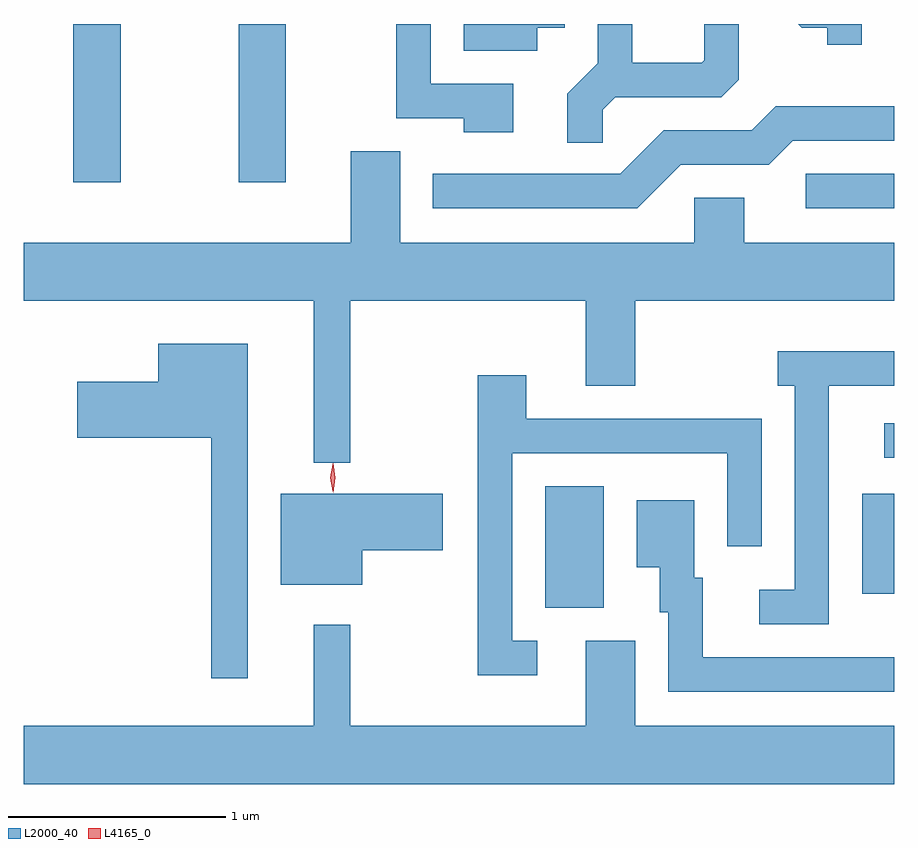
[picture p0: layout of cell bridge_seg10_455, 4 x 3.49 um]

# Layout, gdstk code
import gdstk
lib = gdstk.Library(unit=1e-6, precision=1e-09)
def R(c, l, rs):  # rectangles x0, y0, x1, y1
    for r in rs: c.add(gdstk.rectangle(r[:2], r[2:], *l))
def P(c, l, *ps):  # polygons
    for p in ps: c.add(gdstk.Polygon(p, *l))
L2000_40 = (2000, 40)
L4165_0 = (4165, 0)

bridge_seg10_455 = lib.new_cell('bridge_seg10_455')
R(bridge_seg10_455, L2000_40, [(1058.086,2161.346,1058.354,2161.904), (1059.541,2161.411,1059.689,2161.869), (1059.643,2162.036,1059.689,2162.194), (1059.283,2163.181,1059.689,2163.339), (1055.916,2163.301,1056.134,2164.028), (1056.676,2163.301,1056.894,2164.028)])
P(bridge_seg10_455, L2000_40, [(1059.539,2164.028),(1059.247,2164.028),(1059.264,2164.011),(1059.381,2164.011),(1059.381,2163.933),(1059.539,2163.933)],
  [(1058.049,2164.011),(1058.174,2164.011),(1058.174,2164.028),(1057.711,2164.028),(1057.711,2163.906),(1058.049,2163.906)],
  [(1058.349,2163.634),(1058.407,2163.691),(1058.894,2163.691),(1058.974,2163.772),(1058.974,2164.028),(1058.816,2164.028),(1058.816,2163.862),(1058.804,2163.849),(1058.484,2163.849),(1058.484,2164.028),(1058.326,2164.028),(1058.326,2163.847),(1058.186,2163.707),(1058.186,2163.483),(1058.349,2163.483)],
  [(1057.939,2163.754),(1057.559,2163.754),(1057.559,2164.028),(1057.401,2164.028),(1057.401,2163.596),(1057.711,2163.596),(1057.711,2163.531),(1057.939,2163.531)],
  [(1058.707,2163.381),(1059.112,2163.381),(1059.222,2163.491),(1059.689,2163.491),(1059.689,2163.649),(1059.144,2163.649),(1059.034,2163.539),(1058.629,2163.539),(1058.429,2163.339),(1057.568,2163.339),(1057.568,2163.181),(1058.507,2163.181)],
  [(1057.189,2162.756),(1058.271,2162.756),(1058.271,2162.366),(1058.499,2162.366),(1058.499,2162.756),(1059.689,2162.756),(1059.689,2163.024),(1058.999,2163.024),(1058.999,2163.229),(1058.771,2163.229),(1058.771,2163.024),(1057.419,2163.024),(1057.419,2163.444),(1057.191,2163.444),(1057.191,2163.024),(1055.689,2163.024),(1055.689,2162.756),(1057.021,2162.756),(1057.021,2162.013),(1057.189,2162.013)],
  [(1056.719,2162.559),(1056.306,2162.559),(1056.306,2162.384),(1055.936,2162.384),(1055.936,2162.126),(1056.551,2162.126),(1056.551,2161.023),(1056.719,2161.023)],
  [(1059.389,2162.366),(1059.689,2162.366),(1059.689,2162.524),(1059.153,2162.524),(1059.153,2162.366),(1059.231,2162.366),(1059.231,2161.429),(1059.068,2161.429),(1059.068,2161.271),(1059.389,2161.271)],
  [(1058.048,2161.194),(1057.934,2161.194),(1057.934,2162.056),(1058.921,2162.056),(1058.921,2161.628),(1059.079,2161.628),(1059.079,2162.214),(1057.999,2162.214),(1057.999,2162.414),(1057.776,2162.414),(1057.776,2161.036),(1058.048,2161.036)],
  [(1057.244,2161.611),(1057.614,2161.611),(1057.614,2161.869),(1056.871,2161.869),(1056.871,2161.451),(1057.244,2161.451)],
  [(1059.689,2161.119),(1058.809,2161.119),(1058.809,2161.484),(1058.769,2161.484),(1058.769,2161.839),(1058.506,2161.839),(1058.506,2161.531),(1058.611,2161.531),(1058.611,2161.326),(1058.651,2161.326),(1058.651,2160.961),(1059.689,2160.961)],
  [(1059.689,2160.804),(1058.499,2160.804),(1058.499,2161.194),(1058.271,2161.194),(1058.271,2160.804),(1057.189,2160.804),(1057.189,2161.268),(1057.021,2161.268),(1057.021,2160.804),(1055.689,2160.804),(1055.689,2160.536),(1059.689,2160.536)])
P(bridge_seg10_455, L4165_0, [(1057.111,2161.874),(1057.102,2161.942),(1057.111,2162.01),(1057.111,2162.01),(1057.112,2162.01),(1057.121,2161.942),(1057.112,2161.874),(1057.112,2161.874)],
  [(1057.108,2161.88),(1057.108,2161.88),(1057.098,2161.943),(1057.108,2162.006),(1057.108,2162.007),(1057.109,2162.006),(1057.118,2161.943),(1057.109,2161.88)])

lib.write_gds('bridge_seg10_455.gds')
